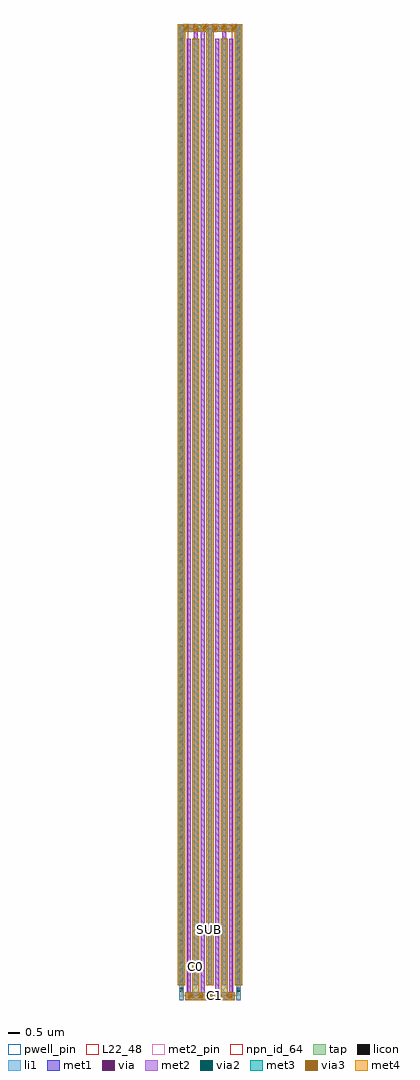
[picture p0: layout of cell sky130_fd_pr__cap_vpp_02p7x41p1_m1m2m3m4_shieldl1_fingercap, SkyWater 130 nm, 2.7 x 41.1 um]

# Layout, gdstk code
import gdstk
lib = gdstk.Library(unit=1e-6, precision=1e-09)
def R(c, l, rs):  # rectangles x0, y0, x1, y1
    for r in rs: c.add(gdstk.rectangle(r[:2], r[2:], *l))
def A(c, l, x, y, w, h, nx, ny, dx, dy):  # array of equal rectangles
    R(c, l, [(x+i*dx, y+j*dy, x+i*dx+w, y+j*dy+h) for i in range(nx) for j in range(ny)])
L22_48 = (22, 48)
tap = (65, 44)
licon = (66, 44)
li1 = (67, 20)
met1 = (68, 20)
via = (68, 44)
met2_pin = (69, 16)
met2 = (69, 20)
via2 = (69, 44)
met3 = (70, 20)
via3 = (70, 44)
met4 = (71, 20)
npn_id_64 = (82, 64)
pwell_pin = (122, 16)

sky130_fd_pr__cap_vpp_02 = lib.new_cell('sky130_fd_pr__cap_vpp_02p7x41p1_m1m2m3m4_shieldl1_fingercap')
R(sky130_fd_pr__cap_vpp_02, L22_48, [(0.405,0,2.295,41.1)])
R(sky130_fd_pr__cap_vpp_02, tap, [(0.065,0,0.235,41.1), (2.465,0,2.635,41.1)])
A(sky130_fd_pr__cap_vpp_02, licon, 0.065, 0.355, 0.17, 0.17, 1, 101, 0, 0.4)
A(sky130_fd_pr__cap_vpp_02, licon, 2.465, 0.355, 0.17, 0.17, 1, 101, 0, 0.4)
R(sky130_fd_pr__cap_vpp_02, li1, [(0.065,0,0.235,41.1), (2.465,0,2.635,41.1)])
A(sky130_fd_pr__cap_vpp_02, via, 0.475, 0.09, 0.15, 0.15, 5, 1, 0.4, 0)
A(sky130_fd_pr__cap_vpp_02, via, 1.475, 40.86, 0.15, 0.15, 3, 1, 0.4, 0)
R(sky130_fd_pr__cap_vpp_02, via, [(0.275,40.86,0.425,41.01)])
R(sky130_fd_pr__cap_vpp_02, met2_pin, [(1.44,0.095,1.62,0.275), (0.705,1.34,0.8,1.44)])
A(sky130_fd_pr__cap_vpp_02, via2, 0.45, 0.065, 0.2, 0.2, 5, 1, 0.4, 0)
A(sky130_fd_pr__cap_vpp_02, via2, 1.45, 40.835, 0.2, 0.2, 3, 1, 0.4, 0)
R(sky130_fd_pr__cap_vpp_02, via2, [(0.25,40.835,0.45,41.035)])
A(sky130_fd_pr__cap_vpp_02, via3, 0.45, 0.065, 0.2, 0.2, 5, 1, 0.4, 0)
A(sky130_fd_pr__cap_vpp_02, via3, 0.25, 40.835, 0.2, 0.2, 6, 1, 0.4, 0)
R(sky130_fd_pr__cap_vpp_02, npn_id_64, [(0.17,0.17,2.53,40.93)])
R(sky130_fd_pr__cap_vpp_02, pwell_pin, [(1.29,2.85,1.395,3.095)])
sky130_fd_pr__cap_vpp_02.add(gdstk.FlexPath([(0.3,0.165),(2.4,0.165)], 0.33, ends="flush", simple_path=True, layer=70, datatype=20))  # met3
sky130_fd_pr__cap_vpp_02.add(gdstk.FlexPath([(0,40.935),(2.7,40.935)], 0.33, ends="flush", simple_path=True, layer=70, datatype=20))  # met3
sky130_fd_pr__cap_vpp_02.add(gdstk.FlexPath([(1.95,40.47),(1.95,0.33)], 0.3, ends="flush", simple_path=True, layer=70, datatype=20))  # met3
sky130_fd_pr__cap_vpp_02.add(gdstk.FlexPath([(0.75,40.47),(0.75,0.33)], 0.3, ends="flush", simple_path=True, layer=70, datatype=20))  # met3
sky130_fd_pr__cap_vpp_02.add(gdstk.FlexPath([(1.35,40.77),(1.35,0.63)], 0.3, ends="flush", simple_path=True, layer=70, datatype=20))  # met3
sky130_fd_pr__cap_vpp_02.add(gdstk.FlexPath([(2.55,40.77),(2.55,0.63)], 0.3, ends="flush", simple_path=True, layer=70, datatype=20))  # met3
sky130_fd_pr__cap_vpp_02.add(gdstk.FlexPath([(0.15,40.77),(0.15,0.63)], 0.3, ends="flush", simple_path=True, layer=70, datatype=20))  # met3
sky130_fd_pr__cap_vpp_02.add(gdstk.FlexPath([(0.3,0.165),(2.4,0.165)], 0.33, ends="flush", simple_path=True, layer=69, datatype=20))  # met2
sky130_fd_pr__cap_vpp_02.add(gdstk.FlexPath([(1.27,40.935),(2.63,40.935)], 0.33, ends="flush", simple_path=True, layer=69, datatype=20))  # met2
sky130_fd_pr__cap_vpp_02.add(gdstk.FlexPath([(2.55,40.77),(2.55,0.63)], 0.16, ends="flush", simple_path=True, layer=69, datatype=20))  # met2
sky130_fd_pr__cap_vpp_02.add(gdstk.FlexPath([(1.95,40.77),(1.95,0.63)], 0.16, ends="flush", simple_path=True, layer=69, datatype=20))  # met2
sky130_fd_pr__cap_vpp_02.add(gdstk.FlexPath([(2.25,40.47),(2.25,0.33)], 0.16, ends="flush", simple_path=True, layer=69, datatype=20))  # met2
sky130_fd_pr__cap_vpp_02.add(gdstk.FlexPath([(1.35,40.77),(1.35,0.63)], 0.16, ends="flush", simple_path=True, layer=69, datatype=20))  # met2
sky130_fd_pr__cap_vpp_02.add(gdstk.FlexPath([(1.65,40.47),(1.65,0.33)], 0.16, ends="flush", simple_path=True, layer=69, datatype=20))  # met2
sky130_fd_pr__cap_vpp_02.add(gdstk.FlexPath([(0.75,40.77),(0.75,0.63)], 0.16, ends="flush", simple_path=True, layer=69, datatype=20))  # met2
sky130_fd_pr__cap_vpp_02.add(gdstk.FlexPath([(1.05,41.1),(1.05,0.33)], 0.16, ends="flush", simple_path=True, layer=69, datatype=20))  # met2
sky130_fd_pr__cap_vpp_02.add(gdstk.FlexPath([(0.15,40.77),(0.15,0.63)], 0.16, ends="flush", simple_path=True, layer=69, datatype=20))  # met2
sky130_fd_pr__cap_vpp_02.add(gdstk.FlexPath([(0.45,40.47),(0.45,0.33)], 0.16, ends="flush", simple_path=True, layer=69, datatype=20))  # met2
sky130_fd_pr__cap_vpp_02.add(gdstk.FlexPath([(0.07,40.935),(0.83,40.935)], 0.33, ends="flush", simple_path=True, layer=69, datatype=20))  # met2
sky130_fd_pr__cap_vpp_02.add(gdstk.FlexPath([(1.65,40.47),(1.65,0.33)], 0.16, ends="flush", simple_path=True, layer=68, datatype=20))  # met1
sky130_fd_pr__cap_vpp_02.add(gdstk.FlexPath([(1.35,40.77),(1.35,0.63)], 0.16, ends="flush", simple_path=True, layer=68, datatype=20))  # met1
sky130_fd_pr__cap_vpp_02.add(gdstk.FlexPath([(0.3,0.165),(2.4,0.165)], 0.33, ends="flush", simple_path=True, layer=68, datatype=20))  # met1
sky130_fd_pr__cap_vpp_02.add(gdstk.FlexPath([(2.55,40.77),(2.55,0.63)], 0.16, ends="flush", simple_path=True, layer=68, datatype=20))  # met1
sky130_fd_pr__cap_vpp_02.add(gdstk.FlexPath([(0.07,40.935),(2.63,40.935)], 0.33, ends="flush", simple_path=True, layer=68, datatype=20))  # met1
sky130_fd_pr__cap_vpp_02.add(gdstk.FlexPath([(0.15,40.77),(0.15,0.63)], 0.16, ends="flush", simple_path=True, layer=68, datatype=20))  # met1
sky130_fd_pr__cap_vpp_02.add(gdstk.FlexPath([(0.45,40.47),(0.45,0.33)], 0.16, ends="flush", simple_path=True, layer=68, datatype=20))  # met1
sky130_fd_pr__cap_vpp_02.add(gdstk.FlexPath([(0.75,40.77),(0.75,0.63)], 0.16, ends="flush", simple_path=True, layer=68, datatype=20))  # met1
sky130_fd_pr__cap_vpp_02.add(gdstk.FlexPath([(1.05,40.47),(1.05,0.33)], 0.16, ends="flush", simple_path=True, layer=68, datatype=20))  # met1
sky130_fd_pr__cap_vpp_02.add(gdstk.FlexPath([(2.25,40.47),(2.25,0.33)], 0.16, ends="flush", simple_path=True, layer=68, datatype=20))  # met1
sky130_fd_pr__cap_vpp_02.add(gdstk.FlexPath([(1.95,40.77),(1.95,0.63)], 0.16, ends="flush", simple_path=True, layer=68, datatype=20))  # met1
sky130_fd_pr__cap_vpp_02.add(gdstk.FlexPath([(1.95,40.47),(1.95,0.33)], 0.3, ends="flush", simple_path=True, layer=71, datatype=20))  # met4
sky130_fd_pr__cap_vpp_02.add(gdstk.FlexPath([(0.3,0.165),(2.4,0.165)], 0.33, ends="flush", simple_path=True, layer=71, datatype=20))  # met4
sky130_fd_pr__cap_vpp_02.add(gdstk.FlexPath([(0.15,40.77),(0.15,0.63)], 0.3, ends="flush", simple_path=True, layer=71, datatype=20))  # met4
sky130_fd_pr__cap_vpp_02.add(gdstk.FlexPath([(0,40.935),(2.7,40.935)], 0.33, ends="flush", simple_path=True, layer=71, datatype=20))  # met4
sky130_fd_pr__cap_vpp_02.add(gdstk.FlexPath([(1.35,40.77),(1.35,0.63)], 0.3, ends="flush", simple_path=True, layer=71, datatype=20))  # met4
sky130_fd_pr__cap_vpp_02.add(gdstk.FlexPath([(2.55,40.77),(2.55,0.63)], 0.3, ends="flush", simple_path=True, layer=71, datatype=20))  # met4
sky130_fd_pr__cap_vpp_02.add(gdstk.FlexPath([(0.75,40.47),(0.75,0.33)], 0.3, ends="flush", simple_path=True, layer=71, datatype=20))  # met4
sky130_fd_pr__cap_vpp_02.add(gdstk.Label('C0', (0.74,1.4), layer=69, texttype=5))
sky130_fd_pr__cap_vpp_02.add(gdstk.Label('C1', (1.545,0.185), layer=69, texttype=5))
sky130_fd_pr__cap_vpp_02.add(gdstk.Label('SUB', (1.345,2.975), layer=64, texttype=59))

lib.write_gds('sky130_fd_pr__cap_vpp_02p7x41p1_m1m2m3m4_shieldl1_fingercap.gds')
